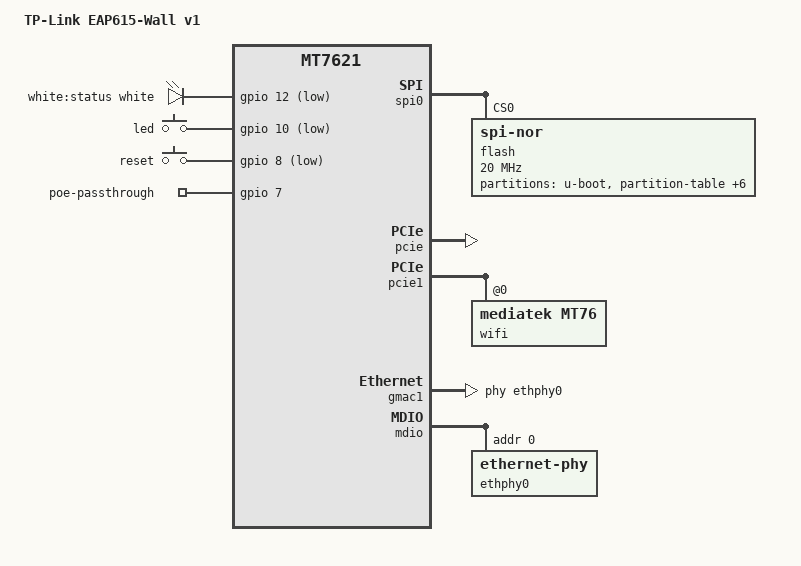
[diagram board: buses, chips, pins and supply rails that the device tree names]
// SPDX-License-Identifier: GPL-2.0-or-later

#include "mt7621.dtsi"

#include <dt-bindings/gpio/gpio.h>
#include <dt-bindings/input/input.h>
#include <dt-bindings/leds/common.h>

/ {
	compatible = "tplink,eap615-wall-v1", "mediatek,mt7621-soc";
	model = "TP-Link EAP615-Wall v1";

	aliases {
		label-mac-device = &gmac0;
		led-boot = &led_status;
		led-failsafe = &led_status;
		led-running = &led_status;
		led-upgrade = &led_status;
	};

	chosen {
		bootargs = "console=ttyS0,115200";
	};

	leds {
		compatible = "gpio-leds";

		led_status: status {
			label = "white:status";
			color = <LED_COLOR_ID_WHITE>;
			function = LED_FUNCTION_STATUS;
			gpios = <&gpio 12 GPIO_ACTIVE_LOW>;
		};
	};

	keys {
		compatible = "gpio-keys";

		led {
			label = "led";
			gpios = <&gpio 10 GPIO_ACTIVE_LOW>;
			linux,code = <KEY_LIGHTS_TOGGLE>;
		};

		reset {
			label = "reset";
			gpios = <&gpio 8 GPIO_ACTIVE_LOW>;
			linux,code = <KEY_RESTART>;
		};
	};

	gpio-export {
		compatible = "gpio-export";

		poe_passthrough {
			gpio-export,name = "poe-passthrough";
			gpio-export,output = <0>;
			gpios = <&gpio 7 GPIO_ACTIVE_HIGH>;
		};
	};
};

&ethernet {
	reg = <0x1e100000 0xe000>;
};

&spi0 {
	status = "okay";

	flash@0 {
		compatible = "jedec,spi-nor";
		reg = <0>;
		spi-max-frequency = <20000000>;

		partitions {
			compatible = "fixed-partitions";
			#address-cells = <1>;
			#size-cells = <1>;

			partition@0 {
				label = "u-boot";
				reg = <0x0 0x80000>;
				read-only;
			};

			partition@80000 {
				label = "partition-table";
				reg = <0x80000 0x10000>;
				read-only;
			};

			info: partition@90000 {
				label = "product-info";
				reg = <0x90000 0x10000>;
				read-only;
			};

			partition@a0000 {
				compatible = "denx,fit";
				label = "firmware";
				reg = <0xa0000 0xcf0000>;
			};

			partition@d90000 {
				label = "user-config";
				reg = <0xd90000 0x60000>;
				read-only;
			};

			partition@f30000 {
				label = "mutil-log";
				reg = <0xf30000 0x80000>;
				read-only;
			};

			partition@fb0000 {
				label = "oops";
				reg = <0xfb0000 0x40000>;
				read-only;
			};

			radio: partition@ff0000 {
				label = "radio";
				reg = <0xff0000 0x10000>;
				read-only;
			};
		};
	};
};

&state_default {
	gpio {
		groups = "uart2", "uart3";
		function = "gpio";
	};
};

&pcie {
	status = "okay";
};

&pcie1 {
	wifi@0,0 {
		compatible = "mediatek,mt76";
		reg = <0x0000 0 0 0 0>;
		mediatek,mtd-eeprom = <&radio 0x0>;
		mediatek,disable-radar-background;
	};
};

&pcie2 {
	status = "disabled";
};

&gmac0 {
	nvmem-cells = <&macaddr_info_8>;
	nvmem-cell-names = "mac-address";
};

&gmac1 {
	status = "okay";
	label = "lan0";
	phy-handle = <&ethphy0>;

	nvmem-cells = <&macaddr_info_8>;
	nvmem-cell-names = "mac-address";
};

&mdio {
	ethphy0: ethernet-phy@0 {
		reg = <0>;
	};
};

&switch0 {
	ports {
		port@1 {
			status = "okay";
			label = "lan3";
		};

		port@2 {
			status = "okay";
			label = "lan2";
		};

		port@3 {
			status = "okay";
			label = "lan1";
		};
	};
};

&info {
	compatible = "nvmem-cells";
	#address-cells = <1>;
	#size-cells = <1>;

	macaddr_info_8: macaddr@8 {
		reg = <0x8 0x6>;
	};
};
